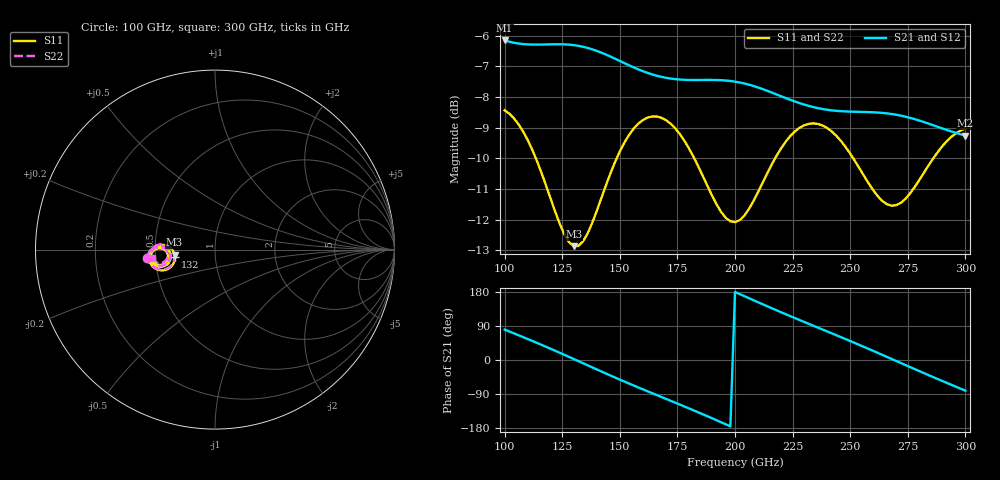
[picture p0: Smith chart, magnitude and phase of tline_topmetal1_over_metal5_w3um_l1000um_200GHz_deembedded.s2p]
! Created with skrf 2.0.1 (http://scikit-rf.org).
# GHz S DB R 50.0
!freq dBS11 angS11 dBS21 angS21 dBS12 angS12 dBS22 angS22
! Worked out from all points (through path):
!   101 points, 100 GHz to 300 GHz, reference 50 ohm
!   highest |S21| = -6.15 dB at 100 GHz (marker M1); lowest = -9.3 dB at 300 GHz (marker M2)
!   group delay of S21, straight-line fit = 7.25 ps
!   lowest |S11| = -12.9 dB at 130 GHz (marker M3), VSWR 1.59, Z = 31.6 - j1.86 ohm
!   |S11| at or under -10 dB: 113.6 GHz to 148.7 GHz (35.09 GHz wide, 26.8 % of centre); 182.3 GHz to 217.4 GHz (35.1 GHz wide, 17.6 % of centre); 251.3 GHz to 286.1 GHz (34.74 GHz wide, 12.9 % of centre)
!   |S22| runs from -12.8 to -8.4 dB; largest |S21 - S12| = 5.6e-14
!   S11 on the Smith chart (normalised r, x): 100 GHz: 0.45, -0.05; 132 GHz: 0.63, -0.06; 300 GHz: 0.48, -0.07
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100  -8.43 -172.7  -6.15 80.3  -6.15 80.3  -8.42 -173.2
114  -10.08 175.4  -6.29 45.2  -6.29 45.2  -10.06 175.0
122  -11.75 176.4  -6.27 24.3  -6.27 24.3  -11.72 175.9
130  -12.87 -172.9  -6.30 2.6  -6.30 2.6  -12.83 -173.6
132  -12.86 -169.4  -6.33 -2.9  -6.33 -2.9  -12.82 -170.1
134  -12.72 -166.0  -6.36 -8.4  -6.36 -8.4  -12.68 -166.8
142  -11.30 -158.0  -6.55 -30.3  -6.55 -30.3  -11.27 -158.9
152  -9.48 -160.3  -6.89 -56.9  -6.89 -56.9  -9.48 -161.2
160  -8.75 -166.7  -7.15 -77.4  -7.15 -77.4  -8.75 -167.6
168  -8.67 -174.0  -7.34 -97.4  -7.34 -97.4  -8.67 -174.9
176  -9.20 179.8  -7.43 -117.5  -7.43 -117.5  -9.20 178.9
186  -10.57 176.6  -7.44 -143.1  -7.44 -143.1  -10.57 175.6
200  -12.08 -172.1  -7.49 179.5  -7.49 179.5  -12.07 -173.1
208  -11.40 -163.9  -7.64 157.8  -7.64 157.8  -11.39 -165.0
218  -9.92 -162.5  -7.91 131.3  -7.91 131.3  -9.92 -163.7
234  -8.86 -172.2  -8.33 90.4  -8.33 90.4  -8.86 -173.5
250  -9.85 179.0  -8.47 50.0  -8.47 50.0  -9.85 177.6
260  -11.04 -179.6  -8.50 24.0  -8.50 24.0  -11.04 179.0
268  -11.55 -173.2  -8.55 2.7  -8.55 2.7  -11.55 -174.8
276  -11.14 -166.6  -8.68 -18.7  -8.68 -18.7  -11.15 -168.2
286  -10.01 -164.4  -8.92 -45.1  -8.92 -45.1  -10.03 -166.1
300  -9.03 -170.3  -9.26 -80.9  -9.26 -80.9  -9.07 -172.2
